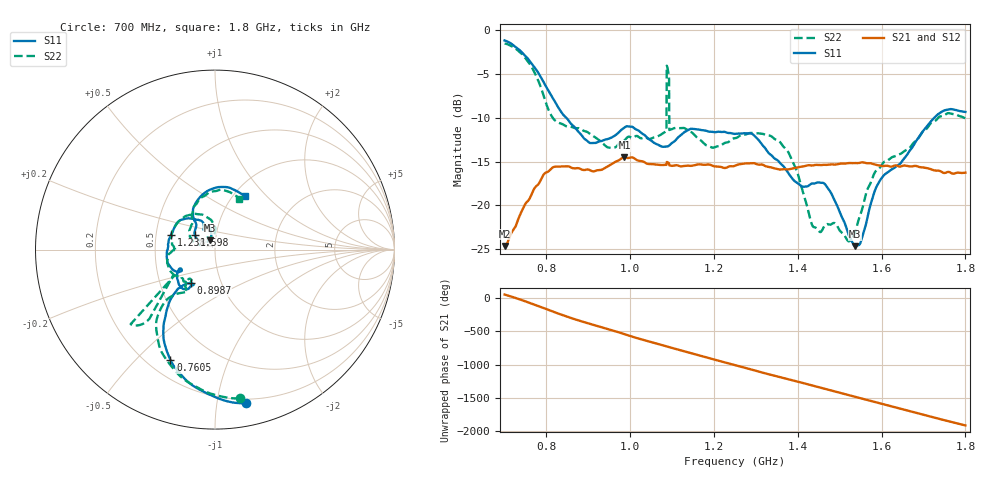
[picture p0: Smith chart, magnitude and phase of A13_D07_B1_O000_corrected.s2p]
! Created with skrf 1.9.0 (http://scikit-rf.org).
# Hz S RI R 50.0
!freq ReS11 ImS11 ReS21 ImS21 ReS12 ImS12 ReS22 ImS22
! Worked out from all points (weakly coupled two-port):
!   1601 points, 700 MHz to 1.8 GHz, reference 50 ohm
!   highest |S21| = -14.51 dB at 986 MHz (marker M1); lowest = -24.6 dB at 700 MHz (marker M2)
!   lowest |S11| = -24.7 dB at 1.537 GHz (marker M3), VSWR 1.12, Z = 47.2 + j4.95 ohm
!   |S11| at or under -10 dB: 847.1 MHz to 1.726 GHz (878.6 MHz wide, 68.3 % of centre)
!   |S22| runs from -24.1 to -1.5 dB; largest |S21 - S12| = 0.0037
!   S11 on the Smith chart (normalised r, x): 700 MHz: 0.17, -1.21; 760.5 MHz: 0.29, -0.64; 898.7 MHz: 0.71, -0.28; 1.238 GHz: 0.60, +0.10; 1.598 GHz: 0.79, +0.13; 1.8 GHz: 1.12, +0.76
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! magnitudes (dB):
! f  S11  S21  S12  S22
! 700 MHz  -1.2  -24.6  -24.4  -1.5
! 760.5 MHz  -3.6  -19.2  -19.0  -3.9
! 816.9 MHz  -7.9  -15.6  -15.7  -10.1
! 883.6 MHz  -12.0  -15.9  -15.8  -11.3
! 898.7 MHz  -12.7  -15.9  -16.0  -11.7
! 986 MHz  -11.1  -14.5  -14.6  -12.6
! 1.067 GHz  -13.1  -15.4  -15.3  -12.1
! 1.081 GHz  -13.3  -15.4  -15.4  -11.7
! 1.087 GHz  -13.3  -15.1  -15.0  -4.1
! 1.093 GHz  -13.2  -15.2  -15.2  -5.5
! 1.099 GHz  -12.9  -15.5  -15.5  -11.3
! 1.238 GHz  -11.7  -15.5  -15.7  -12.6
! 1.25 GHz  -11.8  -15.5  -15.4  -12.3
! 1.358 GHz  -15.2  -15.9  -15.9  -12.8
! 1.396 GHz  -17.4  -15.7  -15.7  -15.9
! 1.434 GHz  -17.5  -15.5  -15.4  -22.2
! 1.472 GHz  -18.1  -15.4  -15.4  -22.2
! 1.537 GHz  -24.7  -15.2  -15.2  -23.1
! 1.598 GHz  -17.0  -15.5  -15.5  -15.6
! 1.617 GHz  -16.1  -15.5  -15.5  -14.8
! 1.735 GHz  -9.6  -16.0  -16.1  -10.0
! 1.8 GHz  -9.3  -16.3  -16.3  -10.1
